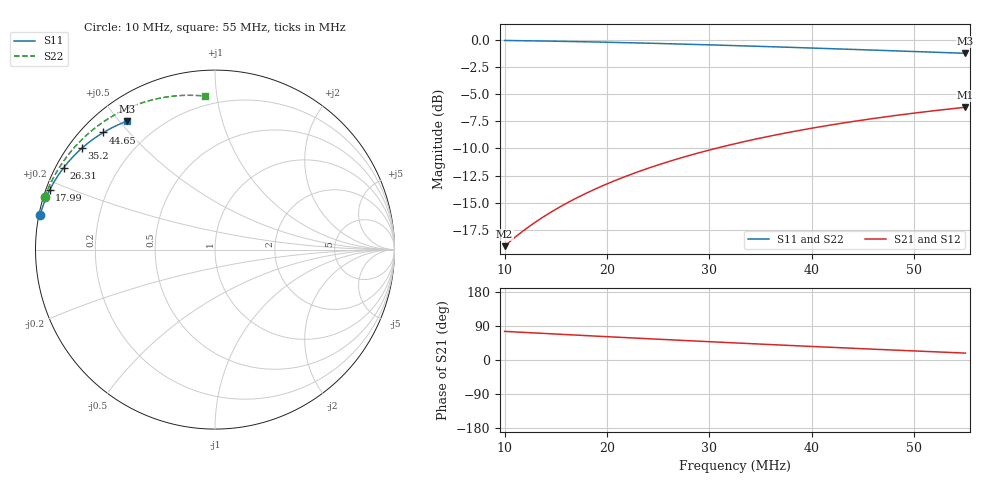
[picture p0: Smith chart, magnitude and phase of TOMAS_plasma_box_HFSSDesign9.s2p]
! Touchstone file exported from HFSS 2022.2.0
!  File:  /home/arthur/Ansoft/PersonalLib/TOMAS_plasma_box.aedt
!  Generated:  5:05:00 PM  Nov 07, 2023
!  Design:  HFSSDesign9
!  Project:  TOMAS_plasma_box
!  Setup:  Setup1
!  Solution:  Sweep
! Variables:
!  offset = 1.25cm
!  r_diel = 210mm
# GHz S MA R 50.000000
! Terminal data exported
! Port[1] = 1
! Port[2] = 2
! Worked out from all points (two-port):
!   401 points, 10 MHz to 55 MHz, reference 50 ohm
!   highest |S21| = -6.21 dB at 55 MHz (marker M1); lowest = -19.0 dB at 10 MHz (marker M2)
!   |S21| within 3 dB of the highest: 34.19 MHz to end of sweep
!   lowest |S11| = -1.2 dB at 55 MHz (marker M3), VSWR 14.02, Z = 4.56 + j26.3 ohm
!   |S11| at or under -10 dB: nowhere
!   |S22| runs from -1.3 to -0.1 dB; largest |S21 - S12| = 0.002
!   S11 on the Smith chart (normalised r, x): 10 MHz: 0.00, +0.10; 17.99 MHz: 0.01, +0.17; 26.31 MHz: 0.02, +0.25; 35.2 MHz: 0.04, +0.34; 44.65 MHz: 0.06, +0.43; 55 MHz: 0.09, +0.53
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0.01  0.9933 168.9  0.1123 75.5  0.1123 75.5  0.9924 162.8
! Gamma 0 0.209584502215678 0 0.209584502192288
! Port Impedance 50 0 50 0
0.010225  0.993 168.7  0.1147 75.2  0.1148 75.2  0.992 162.4
0.0119125  0.9906 166.9  0.1331 72.8  0.1332 72.8  0.9893 159.5
0.0136  0.9878 165.0  0.1512 70.4  0.1513 70.4  0.9861 156.7
0.0155125  0.9843 163.0  0.1714 67.7  0.1715 67.7  0.9822 153.5
0.0175375  0.9803 160.8  0.1923 64.9  0.1925 64.9  0.9777 150.1
0.0179875  0.9793 160.3  0.1969 64.3  0.1971 64.2  0.9766 149.4
0.019675  0.9756 158.5  0.214 62.0  0.2142 61.9  0.9724 146.6
0.0213625  0.9716 156.7  0.2307 59.7  0.231 59.6  0.9681 143.8
0.0231625  0.9671 154.8  0.2482 57.3  0.2485 57.2  0.9632 140.9
0.025075  0.9621 152.9  0.2664 54.7  0.2667 54.6  0.9577 137.8
0.0263125  0.9587 151.6  0.2779 53.1  0.2782 53.0  0.9541 135.8
0.02935  0.9501 148.5  0.3053 49.1  0.3056 49.0  0.9448 131.0
0.0325  0.9406 145.3  0.3325 45.1  0.3328 44.9  0.9347 126.1
0.0352  0.9322 142.7  0.3547 41.6  0.3551 41.5  0.9258 122.0
0.0375625  0.9247 140.4  0.3734 38.7  0.3739 38.6  0.9178 118.4
0.0400375  0.9166 138.0  0.3922 35.7  0.3927 35.5  0.9094 114.8
0.0422875  0.9092 135.8  0.4086 32.9  0.4092 32.8  0.9016 111.5
0.04465  0.9014 133.6  0.4252 30.1  0.4258 30.0  0.8933 108.1
0.047575  0.8916 130.9  0.4447 26.7  0.4454 26.5  0.883 103.9
0.051175  0.8796 127.7  0.4672 22.5  0.468 22.3  0.8704 98.9
0.055  0.8669 124.3  0.4894 18.2  0.4904 18.0  0.857 93.7
